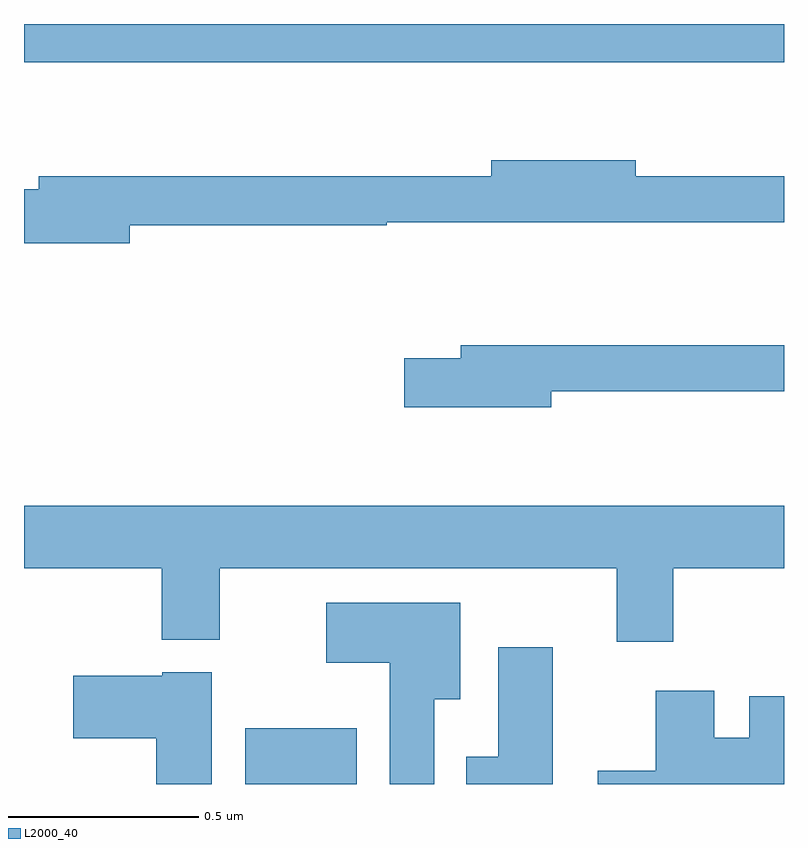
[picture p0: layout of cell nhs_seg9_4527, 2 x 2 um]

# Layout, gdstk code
import gdstk
lib = gdstk.Library(unit=1e-6, precision=1e-09)
def R(c, l, rs):  # rectangles x0, y0, x1, y1
    for r in rs: c.add(gdstk.rectangle(r[:2], r[2:], *l))
def P(c, l, *ps):  # polygons
    for p in ps: c.add(gdstk.Polygon(p, *l))
L2000_40 = (2000, 40)

nhs_seg9_4527 = lib.new_cell('nhs_seg9_4527')
R(nhs_seg9_4527, L2000_40, [(167.582,1214.5,167.875,1214.647), (167,1216.4,169,1216.5)])
P(nhs_seg9_4527, L2000_40, [(167.278,1215.97),(167.954,1215.97),(167.954,1215.978),(169,1215.978),(169,1216.099),(168.61,1216.099),(168.61,1216.141),(168.23,1216.141),(168.23,1216.099),(167.039,1216.099),(167.039,1216.065),(167,1216.065),(167,1215.923),(167.278,1215.923)],
  [(168.388,1215.534),(169,1215.534),(169,1215.655),(168.149,1215.655),(168.149,1215.621),(168,1215.621),(168,1215.491),(168.388,1215.491)],
  [(168.708,1215.068),(169,1215.068),(169,1215.232),(167,1215.232),(167,1215.068),(167.363,1215.068),(167.363,1214.879),(167.515,1214.879),(167.515,1215.068),(168.56,1215.068),(168.56,1214.874),(168.708,1214.874)],
  [(168.079,1214.723),(168.148,1214.723),(168.148,1214.977),(167.796,1214.977),(167.796,1214.819),(167.963,1214.819),(167.963,1214.5),(168.079,1214.5)],
  [(168.391,1214.86),(168.248,1214.86),(168.248,1214.572),(168.164,1214.572),(168.164,1214.5),(168.391,1214.5)],
  [(167.494,1214.794),(167.364,1214.794),(167.364,1214.785),(167.13,1214.785),(167.13,1214.62),(167.348,1214.62),(167.348,1214.5),(167.494,1214.5)],
  [(169,1214.731),(168.908,1214.731),(168.908,1214.622),(168.817,1214.622),(168.817,1214.746),(168.662,1214.746),(168.662,1214.535),(168.51,1214.535),(168.51,1214.5),(169,1214.5)])

lib.write_gds('nhs_seg9_4527.gds')
